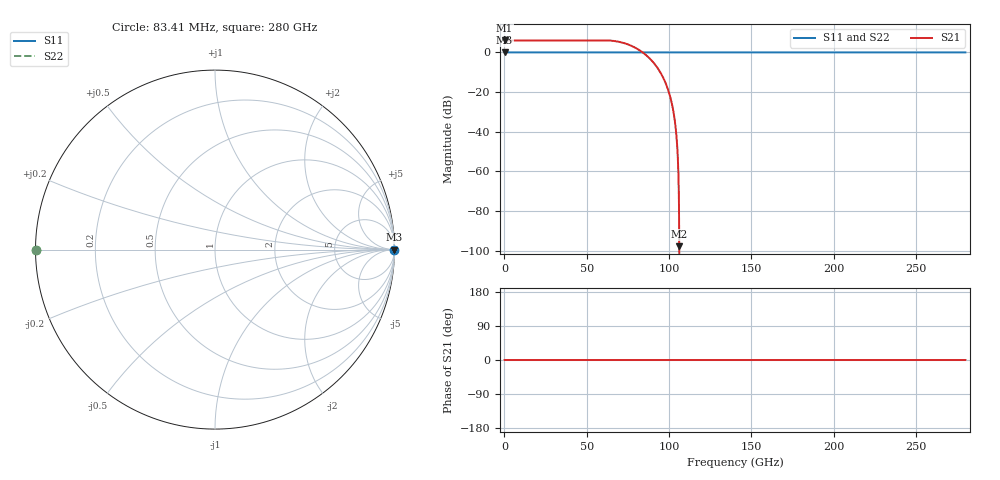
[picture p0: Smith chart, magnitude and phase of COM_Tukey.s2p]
! File created by SignalIntegrity v1.5.2: Signal and Power Integrity Tools
! https://github.com/Nubis-Communications/SignalIntegrity
# MHz S MA R 50.0
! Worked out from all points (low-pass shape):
!   3357 points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, 83.41 MHz to 280 GHz, reference 50 ohm
!   highest |S21| = 6.02 dB at 83.41 MHz (marker M1); lowest = -97.7 dB at 106.2 GHz (marker M2)
!   |S21| within 3 dB of the highest: start of sweep to 77.84 GHz
!   lowest |S11| = 0.0 dB at 83.41 MHz (marker M3)
!   |S11| at or under -10 dB: nowhere
!   |S22| runs from 0.0 to 0.0 dB; largest |S21 - S12| = 2
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83.4078  1 0.0  2 0.0  0 0.0  1 180.0
46791.78  1 0.0  2 0.0  0 0.0  1 180.0
62806.08  1 0.0  1.997 0.0  0 0.0  1 180.0
68978.25  1 0.0  1.869 0.0  0 0.0  1 180.0
75067.02  1 0.0  1.585 0.0  0 0.0  1 180.0
82823.95  1 0.0  1.078 0.0  0 0.0  1 180.0
88579.09  1 0.0  0.679 0.0  0 0.0  1 180.0
93416.74  1 0.0  0.3811 0.0  0 0.0  1 180.0
96419.42  1 0.0  0.2301 0.0  0 0.0  1 180.0
98921.66  1 0.0  0.1302 0.0  0 0.0  1 180.0
100923.4  1 0.0  0.06949 0.0  0 0.0  1 180.0
102508.2  1 0.0  0.0345 0.0  0 0.0  1 180.0
103509.1  1 0.0  0.01856 0.0  0 0.0  1 180.0
104259.8  1 0.0  0.0098 0.0  0 0.0  1 180.0
104593.4  1 0.0  0.006793 0.0  0 0.0  1 180.0
106178.1  1 0.0  1.3e-05 0.0  0 0.0  1 180.0
106928.8  1 0.0  0 0.0  0 0.0  1 180.0
107429.3  1 0.0  0 0.0  0 0.0  1 180.0
140041.7  1 0.0  0 0.0  0 0.0  1 180.0
186750.1  1 0.0  0 0.0  0 0.0  1 180.0
233375  1 0.0  0 0.0  0 0.0  1 180.0
280000  1 0.0  0 0.0  0 0.0  1 180.0
